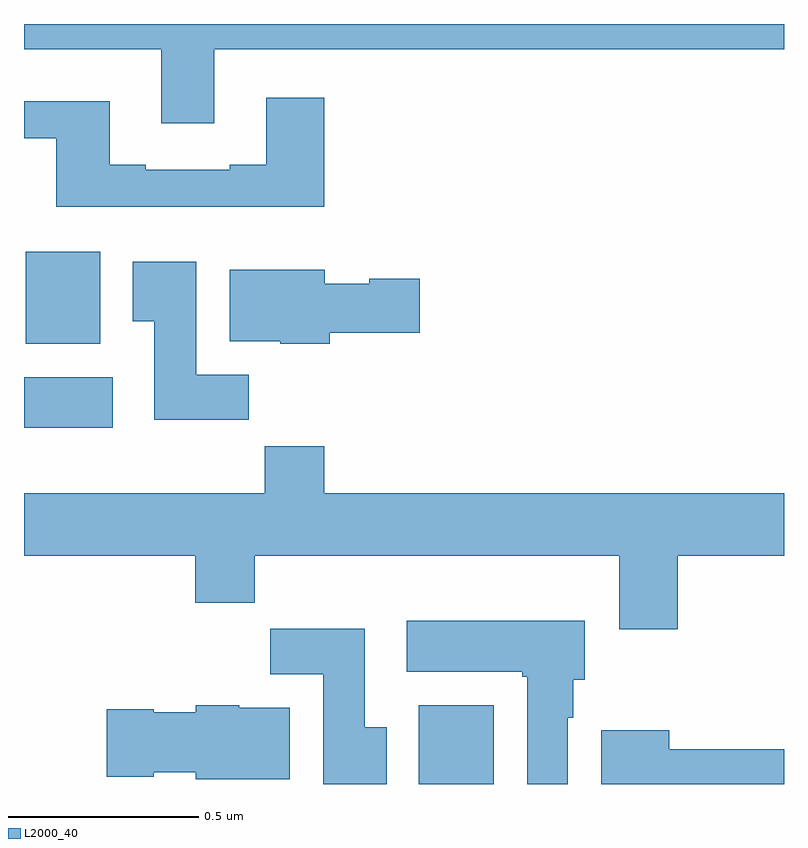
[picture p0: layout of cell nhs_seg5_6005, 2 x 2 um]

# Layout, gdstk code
import gdstk
lib = gdstk.Library(unit=1e-6, precision=1e-09)
def R(c, l, rs):  # rectangles x0, y0, x1, y1
    for r in rs: c.add(gdstk.rectangle(r[:2], r[2:], *l))
def P(c, l, *ps):  # polygons
    for p in ps: c.add(gdstk.Polygon(p, *l))
L2000_40 = (2000, 40)

nhs_seg5_6005 = lib.new_cell('nhs_seg5_6005')
R(nhs_seg5_6005, L2000_40, [(191.039,882.799,191.236,883.006), (190,883.736,190.234,883.87), (190.004,883.958,190.201,884.2)])
P(nhs_seg5_6005, L2000_40, [(190.501,884.732),(192,884.732),(192,884.799),(190,884.799),(190,884.732),(190.361,884.732),(190.361,884.538),(190.501,884.538)],
  [(190.79,884.605),(190.637,884.605),(190.637,884.428),(190.541,884.428),(190.541,884.415),(190.321,884.415),(190.321,884.428),(190.225,884.428),(190.225,884.596),(190,884.596),(190,884.499),(190.085,884.499),(190.085,884.318),(190.79,884.318)],
  [(190.592,883.876),(190.453,883.876),(190.453,884.173),(190.286,884.173),(190.286,884.017),(190.343,884.017),(190.343,883.758),(190.592,883.758)],
  [(190.805,883.987),(191.041,883.987),(191.041,884.129),(190.908,884.129),(190.908,884.116),(190.792,884.116),(190.792,884.152),(190.541,884.152),(190.541,883.964),(190.674,883.964),(190.674,883.958),(190.805,883.958)],
  [(191.72,883.4),(192,883.4),(192,883.564),(190.79,883.564),(190.79,883.688),(190.633,883.688),(190.633,883.564),(190,883.564),(190,883.4),(190.451,883.4),(190.451,883.276),(190.607,883.276),(190.607,883.4),(191.567,883.4),(191.567,883.206),(191.72,883.206)],
  [(191.431,882.974),(191.446,882.974),(191.446,883.074),(191.476,883.074),(191.476,883.228),(191.007,883.228),(191.007,883.094),(191.311,883.094),(191.311,883.081),(191.324,883.081),(191.324,882.799),(191.431,882.799)],
  [(190.954,882.948),(190.897,882.948),(190.897,883.207),(190.648,883.207),(190.648,883.088),(190.787,883.088),(190.787,882.799),(190.954,882.799)],
  [(190.699,883),(190.566,883),(190.566,883.006),(190.452,883.006),(190.452,882.988),(190.341,882.988),(190.341,882.996),(190.218,882.996),(190.218,882.818),(190.341,882.818),(190.341,882.83),(190.452,882.83),(190.452,882.812),(190.699,882.812)],
  [(192,882.89),(191.698,882.89),(191.698,882.94),(191.519,882.94),(191.519,882.799),(192,882.799)])

lib.write_gds('nhs_seg5_6005.gds')
